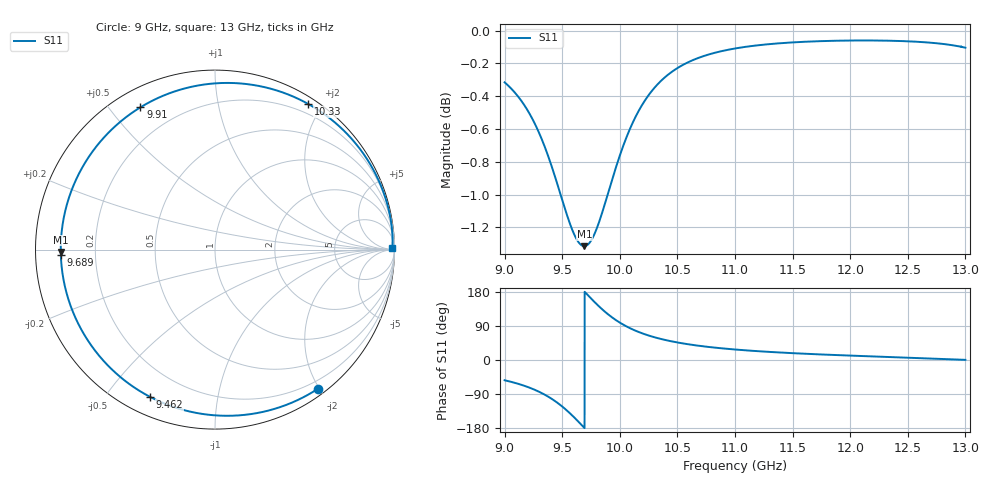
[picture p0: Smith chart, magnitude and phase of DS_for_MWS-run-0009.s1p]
! TOUCHSTONE file generated by CST DESIGN STUDIO
! Date and time: Wed Feb  5 13:45:18 2025
! Project name: C:\Work\MatlabApps\UnitCellOptimizationMatlab\CST\unitcell.cst
! Tree item: Tasks\Sweep1\SPara1\S-Parameters
! Header version: 2024
! Port assignment regex: !\s*Touchstone port\s*([0-9]+)\s*=\s*(CST MWS port|CST DES external port|CST DES block port)\s*(.+)\s* \(\"(.*)\"\)(\s*mode\s*([0-9]+))?.*
! Touchstone port assignment:
! Touchstone port 1 = CST DES external port 1 ("")
# GHz S MA R 50
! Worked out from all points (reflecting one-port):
!   4001 points, 9 GHz to 13 GHz, reference 50 ohm
!   lowest |S11| = -1.3 dB at 9.692 GHz (marker M1), VSWR 13.23, Z = 3.78 - j0.4 ohm
!   phase of S11 starts at -53 deg and turns -306 deg over the sweep
!   S11 on the Smith chart (normalised r, x): 9 GHz: 0.09, -1.98; 9.462 GHz: 0.08, -0.65; 9.689 GHz: 0.08, -0.02; 9.91 GHz: 0.08, +0.60; 10.33 GHz: 0.08, +1.83; 13 GHz: open
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9  0.9643 -53.5
9.122  0.9543 -63.2
9.24  0.94 -75.9
9.364  0.9186 -94.2
9.415  0.9077 -103.7
9.462  0.8968 -113.7
9.5  0.8879 -122.7
9.552  0.8762 -136.4
9.606  0.8663 -152.0
9.649  0.8613 -165.3
9.689  0.8595 -178.1
9.692  0.8595 -179.1
9.737  0.8615 166.5
9.785  0.8676 151.6
9.848  0.8802 133.5
9.91  0.8949 117.7
10  0.916 98.7
10.072  0.9304 86.4
10.159  0.9445 74.5
10.242  0.9548 65.4
10.333  0.9634 57.4
10.5  0.974 46.3
10.719  0.9821 36.3
11  0.9875 27.7
11.5  0.9918 18.0
12  0.9931 11.6
12.5  0.9925 6.3
13  0.9881 0.4
